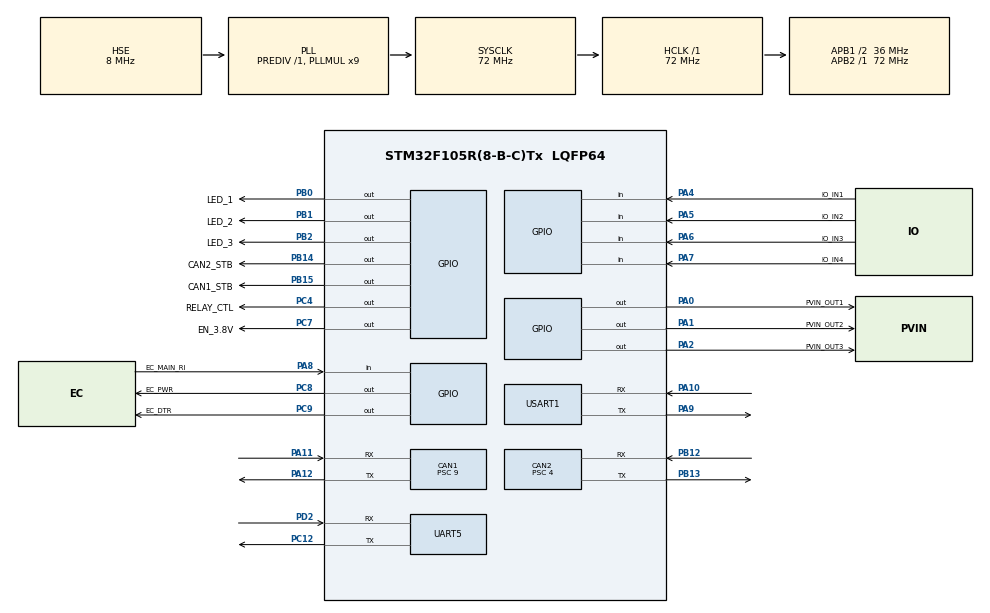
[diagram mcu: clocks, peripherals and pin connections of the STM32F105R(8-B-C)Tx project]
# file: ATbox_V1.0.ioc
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CAN1.AWUM=ENABLE
CAN1.BS1=CAN_BS1_13TQ
CAN1.BS2=CAN_BS2_2TQ
CAN1.CalculateBaudRate=250000
CAN1.CalculateTimeBit=4000
CAN1.CalculateTimeQuantum=250.0
CAN1.NART=ENABLE
CAN1.Prescaler=9
CAN2.AWUM=ENABLE
CAN2.BS1=CAN_BS1_15TQ
CAN2.BS2=CAN_BS2_2TQ
CAN2.CalculateBaudRate=500000
CAN2.CalculateTimeBit=2000
CAN2.CalculateTimeQuantum=111.11111111111111
CAN2.NART=ENABLE
CAN2.Prescaler=4
Dma.Request0=USART1_RX
Dma.Request1=USART1_TX
Dma.USART1_RX.0.Direction=DMA_PERIPH_TO_MEMORY
Dma.USART1_RX.0.Instance=DMA1_Channel5
Dma.USART1_RX.0.MemDataAlignment=DMA_MDATAALIGN_BYTE
Dma.USART1_RX.0.MemInc=DMA_MINC_ENABLE
Dma.USART1_RX.0.Mode=DMA_NORMAL
Dma.USART1_RX.0.PeriphDataAlignment=DMA_PDATAALIGN_BYTE
Dma.USART1_RX.0.PeriphInc=DMA_PINC_DISABLE
Dma.USART1_RX.0.Priority=DMA_PRIORITY_LOW
Dma.USART1_TX.1.Direction=DMA_MEMORY_TO_PERIPH
Dma.USART1_TX.1.Instance=DMA1_Channel4
Dma.USART1_TX.1.MemDataAlignment=DMA_MDATAALIGN_BYTE
Dma.USART1_TX.1.MemInc=DMA_MINC_ENABLE
Dma.USART1_TX.1.Mode=DMA_NORMAL
Dma.USART1_TX.1.PeriphDataAlignment=DMA_PDATAALIGN_BYTE
Dma.USART1_TX.1.PeriphInc=DMA_PINC_DISABLE
Dma.USART1_TX.1.Priority=DMA_PRIORITY_LOW
Mcu.Family=STM32F1
Mcu.Name=STM32F105R(8-B-C)Tx
Mcu.Package=LQFP64
NVIC.CAN1_RX0_IRQn=true\:0\:0\:false\:false\:true\:true\:true\:true
NVIC.CAN1_RX1_IRQn=true\:0\:0\:false\:false\:true\:true\:true\:true
NVIC.CAN1_SCE_IRQn=true\:0\:0\:false\:false\:true\:true\:true\:true
NVIC.CAN1_TX_IRQn=true\:0\:0\:false\:false\:true\:true\:true\:true
NVIC.CAN2_RX0_IRQn=true\:0\:0\:false\:false\:true\:true\:true\:true
NVIC.CAN2_RX1_IRQn=true\:0\:0\:false\:false\:true\:true\:true\:true
NVIC.CAN2_SCE_IRQn=true\:0\:0\:false\:false\:true\:true\:true\:true
NVIC.CAN2_TX_IRQn=true\:0\:0\:false\:false\:true\:true\:true\:true
NVIC.DMA1_Channel4_IRQn=true\:0\:0\:false\:false\:true\:false\:true\:true
NVIC.DMA1_Channel5_IRQn=true\:0\:0\:false\:false\:true\:false\:true\:true
NVIC.PriorityGroup=NVIC_PRIORITYGROUP_4
NVIC.TIM1_UP_IRQn=true\:15\:0\:false\:false\:true\:false\:true\:true
NVIC.TimeBase=TIM1_UP_IRQn
NVIC.TimeBaseIP=TIM1
NVIC.UART5_IRQn=true\:0\:0\:false\:false\:true\:true\:true\:true
NVIC.USART1_IRQn=true\:0\:0\:false\:false\:true\:false\:true\:true
PA0-WKUP.GPIO_Label=PVIN_OUT1
PA0-WKUP.Signal=GPIO_Output
PA1.GPIO_Label=PVIN_OUT2
PA1.Signal=GPIO_Output
PA10.Mode=Asynchronous
PA10.Signal=USART1_RX
PA11.Mode=CAN_Activate
PA11.Signal=CAN1_RX
PA12.Mode=CAN_Activate
PA12.Signal=CAN1_TX
PA13.Mode=Serial_Wire
PA13.Signal=SYS_JTMS-SWDIO
PA14.Mode=Serial_Wire
PA14.Signal=SYS_JTCK-SWCLK
PA2.GPIO_Label=PVIN_OUT3
PA2.Signal=GPIO_Output
PA4.GPIO_Label=IO_IN1
PA4.Signal=GPIO_Input
PA5.GPIO_Label=IO_IN2
PA5.Signal=GPIO_Input
PA6.GPIO_Label=IO_IN3
PA6.Signal=GPIO_Input
PA7.GPIO_Label=IO_IN4
PA7.Signal=GPIO_Input
PA8.GPIO_Label=EC_MAIN_RI
PA8.Signal=GPIO_Input
PA9.Mode=Asynchronous
PA9.Signal=USART1_TX
PB0.GPIO_Label=LED_1
PB0.Signal=GPIO_Output
PB1.GPIO_Label=LED_2
PB1.Signal=GPIO_Output
PB12.Mode=CAN_Activate
PB12.Signal=CAN2_RX
PB13.Mode=CAN_Activate
PB13.Signal=CAN2_TX
PB14.GPIO_Label=CAN2_STB
PB14.Signal=GPIO_Output
PB15.GPIO_Label=CAN1_STB
PB15.Signal=GPIO_Output
PB2.GPIO_Label=LED_3
PB2.Signal=GPIO_Output
PC12.Mode=Asynchronous
PC12.Signal=UART5_TX
PC4.GPIO_Label=RELAY_CTL
PC4.Signal=GPIO_Output
PC7.GPIO_Label=EN_3.8V
PC7.Signal=GPIO_Output
PC8.GPIO_Label=EC_PWR
PC8.Signal=GPIO_Output
PC9.GPIO_Label=EC_DTR
PC9.Signal=GPIO_Output
PD0-OSC_IN.Mode=HSE-External-Oscillator
PD0-OSC_IN.Signal=RCC_OSC_IN
PD1-OSC_OUT.Mode=HSE-External-Oscillator
PD1-OSC_OUT.Signal=RCC_OSC_OUT
PD2.Mode=Asynchronous
PD2.Signal=UART5_RX
ProjectManager.HeapSize=0x2000
ProjectManager.StackSize=0x800
ProjectManager.TargetToolchain=CMake
RCC.AHBFreq_Value=72000000
RCC.APB1CLKDivider=RCC_HCLK_DIV2
RCC.APB1Freq_Value=36000000
RCC.APB1TimFreq_Value=72000000
RCC.APB2Freq_Value=72000000
RCC.APB2TimFreq_Value=72000000
RCC.HCLKFreq_Value=72000000
RCC.PLLMUL=RCC_PLL_MUL9
RCC.PLLSourceVirtual=RCC_PLLSOURCE_HSE
RCC.SYSCLKFreq_VALUE=72000000
RCC.SYSCLKSource=RCC_SYSCLKSOURCE_PLLCLK
RCC.USBFreq_Value=48000000
UART5.VirtualMode=Asynchronous
USART1.VirtualMode=VM_ASYNC
VP_SYS_VS_tim1.Mode=TIM1
board=custom

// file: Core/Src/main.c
/* USER CODE BEGIN Header */
/**
 ******************************************************************************
 * @file           : main.c
 * @brief          : Main program body
 ******************************************************************************
 * @attention
 *
 * Copyright (c) 2026 STMicroelectronics.
 * All rights reserved.
 *
 * This software is licensed under terms that can be found in the LICENSE file
 * in the root directory of this software component.
 * If no LICENSE file comes with this software, it is provided AS-IS.
 *
 ******************************************************************************
 */
/* USER CODE END Header */
#include "main.h"
#include "can.h"
#include "dma.h"
#include "usart.h"
#include "gpio.h"

/* USER CODE BEGIN Includes */
#include "boot_cfg.h"

#if defined(ABOX_RELAY485_TEST) && ABOX_RELAY485_TEST
#include "relay485_test.h"
#else
#include <inttypes.h>
#include <stdint.h>
#include <stdio.h>
#include <string.h>

#include "app_rc.h"
#include "abox_product_port.h"
#include "ec_power.h"
#include "led_message.h"
#include "motor485.h"
#include "mqtt_app.h"
#include "mqtt_core.h"
#include "serial_bus.h"
#endif
/* USER CODE END Includes */

/* USER CODE BEGIN PV */
#if !defined(ABOX_RELAY485_TEST) || !(ABOX_RELAY485_TEST)
static MQTT_CoreConfig_t g_mqtt_cfg = {0};

#define UART1_RX_BUF_SZ 512
uint8_t uart1_rx_buf[UART1_RX_BUF_SZ];

#define UART5_RX_BUF_SZ 256
uint8_t uart5_rx_buf[UART5_RX_BUF_SZ];

static uint8_t g_mqtt_start_enable = 0;
static uint32_t g_ec_restart_tick = 0;
#endif
/* USER CODE END PV */

void SystemClock_Config(void);

/* USER CODE BEGIN 0 */
#if !defined(ABOX_RELAY485_TEST) || !(ABOX_RELAY485_TEST)
int fputc(int ch, FILE* f)
{
    (void)ch;
    (void)f;
    return ch;
}

static char g_client_id[32];

static void GenClientId(void)
{
    uint32_t uid0 = *(uint32_t*)0x1FFFF7E8;
    uint32_t uid1 = *(uint32_t*)0x1FFFF7EC;
    uint32_t uid2 = *(uint32_t*)0x1FFFF7F0;

    snprintf(g_client_id, sizeof(g_client_id), "dev_%08" PRIX32 "%08" PRIX32 "%08" PRIX32, uid0, uid1, uid2);
}

static void MQTT_ConfigInit(void)
{
    memset(&g_mqtt_cfg, 0, sizeof(g_mqtt_cfg));

    g_mqtt_cfg.client_idx = 0;

    strncpy(g_mqtt_cfg.server_host, "36.153.162.171", sizeof(g_mqtt_cfg.server_host) - 1);
    g_mqtt_cfg.server_port = 61883;

    strncpy(g_mqtt_cfg.client_id, g_client_id, sizeof(g_mqtt_cfg.client_id) - 1);
    strncpy(g_mqtt_cfg.username, "zxwl", sizeof(g_mqtt_cfg.username) - 1);
    strncpy(g_mqtt_cfg.password, "zxwl1234@", sizeof(g_mqtt_cfg.password) - 1);

    g_mqtt_cfg.sub_topic[0] = '\0';
    g_mqtt_cfg.pub_topic[0] = '\0';
}
/* USER CODE END 0 */
#endif

int main(void)
{

  /* USER CODE BEGIN 1 */
    SCB->VTOR = APP_START_ADDR;
    __DSB();
    __ISB();
    // __enable_irq();
  /* USER CODE END 1 */

  /* MCU Configuration--------------------------------------------------------*/

  /* Reset of all peripherals, Initializes the Flash interface and the Systick. */
  HAL_Init();

  /* USER CODE BEGIN Init */
    __enable_irq();
  /* USER CODE END Init */

  /* Configure the system clock */
  SystemClock_Config();

  /* Initialize all configured peripherals */
#if defined(ABOX_RELAY485_TEST) && ABOX_RELAY485_TEST
  MX_GPIO_Init();
  MX_UART5_Init();
  Relay485Test_Init();

  while (1)
  {
    Relay485Test_Task();
  }
#else
  MX_GPIO_Init();
  MX_DMA_Init();
  MX_CAN1_Init();
  MX_CAN2_Init();
  MX_USART1_UART_Init();
  MX_UART5_Init();
  /* USER CODE BEGIN 2 */

    ABox_ProductPlatform_Init();

    HAL_GPIO_WritePin(PVIN_OUT2_GPIO_Port, PVIN_OUT2_Pin, GPIO_PIN_SET);

    // 使能CAN
    HAL_GPIO_WritePin(CAN1_STB_GPIO_Port, CAN1_STB_Pin, GPIO_PIN_RESET);
    HAL_GPIO_WritePin(CAN2_STB_GPIO_Port, CAN2_STB_Pin, GPIO_PIN_RESET);

    EC_Power_Init();
    EC_Power_StartRestartSequence();
    g_ec_restart_tick = HAL_GetTick();
    g_mqtt_start_enable = 0;

    HAL_UART_Transmit(&huart5, (uint8_t*)"[APP] start ec restart\r\n", 24, 1000);

    HAL_UARTEx_ReceiveToIdle_DMA(&huart1, uart1_rx_buf, UART1_RX_BUF_SZ);
    __HAL_DMA_DISABLE_IT(huart1.hdmarx, DMA_IT_HT);

    HAL_UARTEx_ReceiveToIdle_DMA(&huart5, uart5_rx_buf, UART5_RX_BUF_SZ);
    __HAL_DMA_DISABLE_IT(huart5.hdmarx, DMA_IT_HT);

    SerialBus_Init();
    SerialBus_RegisterLedRxHandler(LedMessage_OnBusRx);
    SerialBus_RegisterMotorRxHandler(Motor485_OnRxFrame);

    Motor485_Init();
    AppRc_Init(HAL_GetTick());
    LedMessage_Init();

    GenClientId();
    MQTT_ConfigInit();

    MQTT_Core_Init(&g_mqtt_cfg, MQTT_App_OnMessage);

    MQTT_App_Init("V000002");
    MQTT_Core_SetTopics(MQTT_App_GetCtrlTopic(), MQTT_App_GetHeartbeatTopic());

  /* USER CODE END 2 */

  /* Infinite loop */
  /* USER CODE BEGIN WHILE */
    while (1)
    {
        static uint32_t last_tick_5ms = 0;
        uint32_t now = HAL_GetTick();

        if (now - last_tick_5ms >= 5)
        {
            last_tick_5ms = now;
            AppRc_Proc_5ms(now);
        }

        EC_Power_Task();

        if ((!g_mqtt_start_enable) && ((HAL_GetTick() - g_ec_restart_tick) >= 8000U))
        {
            g_mqtt_start_enable = 1;
            // HAL_UART_Transmit(&huart5, (uint8_t*)"[APP] mqtt start enable\r\n", 25, 1000);
        }

        if (g_mqtt_start_enable)
        {
            MQTT_Core_Task();
            MQTT_App_Task();
        }

        Motor485_Task(now);
        LedMessage_Task();
        SerialBus_Task();
    /* USER CODE END WHILE */

    }
#endif
}

void SystemClock_Config(void)
{
  RCC_OscInitTypeDef RCC_OscInitStruct = {0};
  RCC_ClkInitTypeDef RCC_ClkInitStruct = {0};

  /** Initializes the RCC Oscillators according to the specified parameters
  * in the RCC_OscInitTypeDef structure.
  */
  RCC_OscInitStruct.OscillatorType = RCC_OSCILLATORTYPE_HSE;
  RCC_OscInitStruct.HSEState = RCC_HSE_ON;
  RCC_OscInitStruct.HSEPredivValue = RCC_HSE_PREDIV_DIV1;
  RCC_OscInitStruct.HSIState = RCC_HSI_ON;
  RCC_OscInitStruct.Prediv1Source = RCC_PREDIV1_SOURCE_HSE;
  RCC_OscInitStruct.PLL.PLLState = RCC_PLL_ON;
  RCC_OscInitStruct.PLL.PLLSource = RCC_PLLSOURCE_HSE;
  RCC_OscInitStruct.PLL.PLLMUL = RCC_PLL_MUL9;
  RCC_OscInitStruct.PLL2.PLL2State = RCC_PLL_NONE;
  if (HAL_RCC_OscConfig(&RCC_OscInitStruct) != HAL_OK)
  {
    Error_Handler();
  }

  /** Initializes the CPU, AHB and APB buses clocks
  */
  RCC_ClkInitStruct.ClockType = RCC_CLOCKTYPE_HCLK|RCC_CLOCKTYPE_SYSCLK
                              |RCC_CLOCKTYPE_PCLK1|RCC_CLOCKTYPE_PCLK2;
  RCC_ClkInitStruct.SYSCLKSource = RCC_SYSCLKSOURCE_PLLCLK;
  RCC_ClkInitStruct.AHBCLKDivider = RCC_SYSCLK_DIV1;
  RCC_ClkInitStruct.APB1CLKDivider = RCC_HCLK_DIV2;
  RCC_ClkInitStruct.APB2CLKDivider = RCC_HCLK_DIV1;

  if (HAL_RCC_ClockConfig(&RCC_ClkInitStruct, FLASH_LATENCY_2) != HAL_OK)
  {
    Error_Handler();
  }

  /** Configure the Systick interrupt time
  */
  __HAL_RCC_PLLI2S_ENABLE();
}

/* USER CODE BEGIN 4 */
#if !defined(ABOX_RELAY485_TEST) || !(ABOX_RELAY485_TEST)
void HAL_CAN_RxFifo0MsgPendingCallback(CAN_HandleTypeDef* hcan)
{
    CAN_RxHeaderTypeDef rxHeader;
    uint8_t rxData[8];

    if (HAL_CAN_GetRxMessage(hcan, CAN_RX_FIFO0, &rxHeader, rxData) != HAL_OK) return;

    AppRc_OnCanRx(hcan, &rxHeader, rxData);
}

void HAL_UARTEx_RxEventCallback(UART_HandleTypeDef* huart, uint16_t Size)
{
    if (huart->Instance == USART1)
    {
        MQTT_Core_OnUartRx(uart1_rx_buf, Size);

        HAL_UARTEx_ReceiveToIdle_DMA(&huart1, uart1_rx_buf, UART1_RX_BUF_SZ);
        __HAL_DMA_DISABLE_IT(huart1.hdmarx, DMA_IT_HT);
    }
    else if (huart->Instance == UART5)
    {
        SerialBus_OnRxFrame(uart5_rx_buf, Size);

        HAL_UARTEx_ReceiveToIdle_DMA(&huart5, uart5_rx_buf, UART5_RX_BUF_SZ);
        __HAL_DMA_DISABLE_IT(huart5.hdmarx, DMA_IT_HT);
    }
}
#endif
/* USER CODE END 4 */

void HAL_TIM_PeriodElapsedCallback(TIM_HandleTypeDef *htim)
{
  if (htim->Instance == TIM1)
  {
    HAL_IncTick();
  }
}

void Error_Handler(void)
{
    __disable_irq();
    while (1) {}
}
